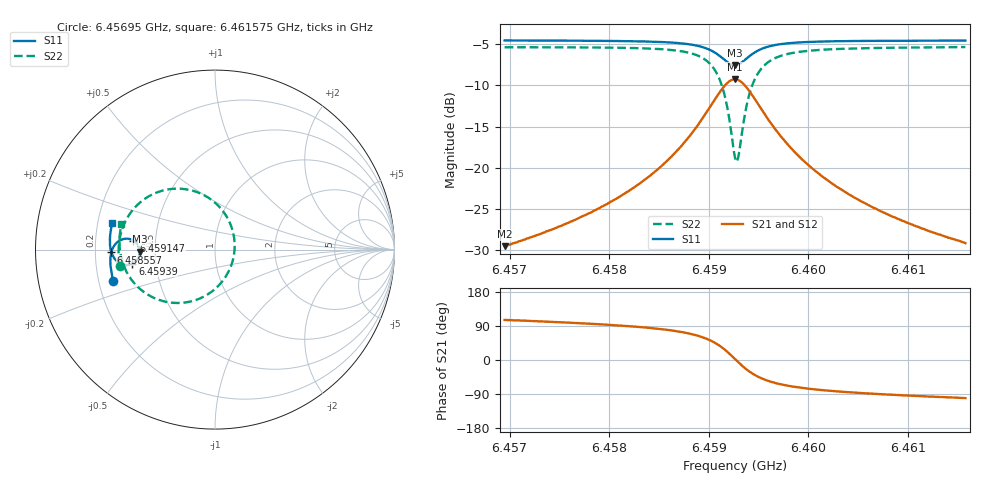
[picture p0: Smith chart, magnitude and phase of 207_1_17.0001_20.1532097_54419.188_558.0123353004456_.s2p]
#  HZ  S  RI  R  50.00
! Rohde & Schwarz Vector Network Analyzer
! Rohde-Schwarz,ZNB20-2Port,1311601062101988,3.16
! Created: UTC 3/20/2024, 11:01:18 PM
! freq[Hz]  re:S11  im:S11  re:S21  im:S21  re:S12  im:S12  re:S22  im:S22
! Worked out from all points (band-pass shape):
!   401 points, 6.45695 GHz to 6.461575 GHz, reference 50 ohm
!   highest |S21| = -9.26 dB at 6.459263 GHz (marker M1); lowest = -29.5 dB at 6.45695 GHz (marker M2)
!   |S21| within 3 dB of the highest: 6.459031 GHz to 6.459493 GHz (462.2 kHz wide, 0.00716 % of centre)
!   lowest |S11| = -7.6 dB at 6.459263 GHz (marker M3), VSWR 2.44, Z = 20.5 - j0.61 ohm
!   |S11| at or under -10 dB: nowhere
!   |S22| runs from -19.2 to -5.4 dB; largest |S21 - S12| = 0.013
!   S11 on the Smith chart (normalised r, x): 6.45695 GHz: 0.26, -0.14; 6.458557 GHz: 0.27, -0.01; 6.459147 GHz: 0.37, +0.05; 6.45939 GHz: 0.37, -0.07; 6.461575 GHz: 0.26, +0.12
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6.4569503e9  -0.5656 -0.1755  -0.00903 0.0322  -0.00741 0.0323  -0.531 -0.0903
6.457725e9  -0.5801 -0.1079  -0.00579 0.0502  -0.00341 0.0497  -0.5374 0.000139
6.4581643e9  -0.5832 -0.0638  0.000158 0.0703  0.00342 0.069  -0.5293 0.0698
6.4584996e9  -0.5796 -0.0236  0.0136 0.0985  0.0175 0.0958  -0.505 0.1454
6.4585574e9  -0.5779 -0.0157  0.0179 0.1054  0.0219 0.1023  -0.497 0.162
6.4587655e9  -0.565 0.0163  0.0449 0.1379  0.0492 0.1329  -0.4461 0.2351
6.4589158e9  -0.5426 0.0428  0.0901 0.1685  0.0933 0.1618  -0.3634 0.2999
6.4590546e9  -0.4988 0.0606  0.1769 0.1854  0.178 0.1781  -0.2048 0.3396
6.4591471e9  -0.4544 0.0505  0.2669 0.1546  0.2671 0.1488  -0.0384 0.2901
6.4592165e9  -0.4252 0.0186  0.3274 0.0832  0.3295 0.0778  0.0771 0.1616
6.4592627e9  -0.4183 -0.0123  0.3439 0.0154  0.3474 0.00844  0.1096 0.0352
6.4592743e9  -0.4187 -0.0203  0.3438 -0.00237  0.3475 -0.00986  0.1091 0.00179
6.4592974e9  -0.4223 -0.0359  0.3381 -0.0369  0.3421 -0.0459  0.0984 -0.0637
6.4593436e9  -0.4378 -0.0619  0.31 -0.0966  0.312 -0.1084  0.0414 -0.1764
6.4593899e9  -0.4597 -0.0781  0.268 -0.1375  0.2673 -0.1507  -0.0431 -0.2512
6.4594824e9  -0.503 -0.0848  0.1839 -0.1687  0.1779 -0.1802  -0.2106 -0.2974
6.4596327e9  -0.5466 -0.0645  0.0965 -0.1555  0.0881 -0.1615  -0.3775 -0.249
6.4597945e9  -0.5682 -0.0368  0.0516 -0.1278  0.0443 -0.1306  -0.4576 -0.1777
6.4600373e9  -0.5809 -0.00129  0.0228 -0.0966  0.0169 -0.0972  -0.5061 -0.0958
6.4603958e9  -0.5857 0.041  0.00629 -0.0694  0.00221 -0.0689  -0.528 -0.0149
6.460812e9  -0.5838 0.0827  -0.00117 -0.0514  -0.00397 -0.0508  -0.5322 0.0512
6.4615751e9  -0.5718 0.1501  -0.0064 -0.0343  -0.00809 -0.0335  -0.5213 0.1412
